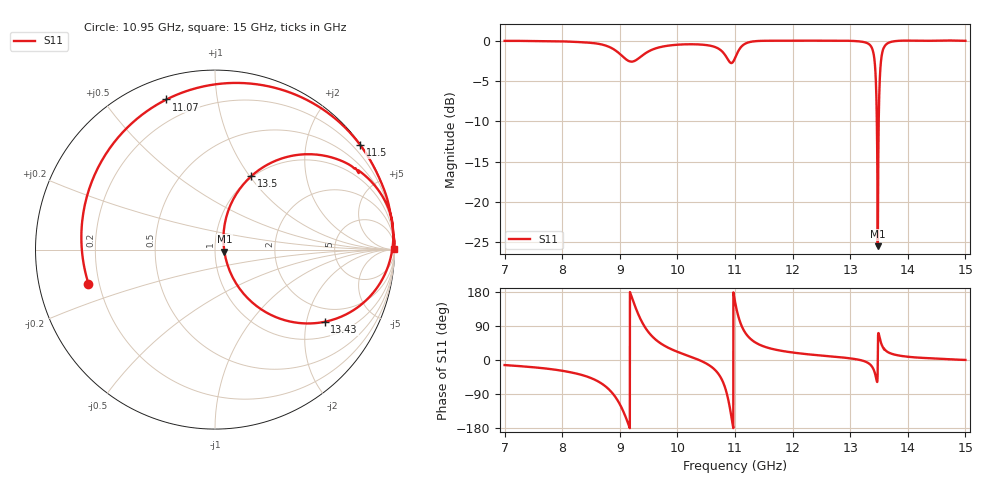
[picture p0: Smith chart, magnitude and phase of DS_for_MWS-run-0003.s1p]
! TOUCHSTONE file generated by CST DESIGN STUDIO
! Date and time: Mon Feb 10 16:44:07 2025
! Project name: C:\Work\MatlabApps\UnitCellType2OptimizationMatlab\CST\unitcell.cst
! Tree item: Tasks\Sweep1\SPara1\S-Parameters
! Header version: 2024
! Port assignment regex: !\s*Touchstone port\s*([0-9]+)\s*=\s*(CST MWS port|CST DES external port|CST DES block port)\s*(.+)\s* \(\"(.*)\"\)(\s*mode\s*([0-9]+))?.*
! Touchstone port assignment:
! Touchstone port 1 = CST DES external port 1 ("")
# GHz S MA R 50
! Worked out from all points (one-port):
!   4001 points, 7 GHz to 15 GHz, reference 50 ohm
!   lowest |S11| = -25.5 dB at 13.48 GHz (marker M1), VSWR 1.11, Z = 55.5 - j1.21 ohm
!   |S11| at or under -10 dB: 13.46261 GHz to 13.49518 GHz (32.57 MHz wide, 0.242 % of centre)
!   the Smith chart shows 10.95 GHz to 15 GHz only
!   S11 on the Smith chart (normalised r, x): 10.95 GHz: 0.16, -0.13; 11.07 GHz: 0.10, +0.72; 11.5 GHz: 0.02, +3.10; 13.43 GHz: 1.49, -2.57; 13.5 GHz: 0.99, +1.01; 15 GHz: open
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7  0.9959 -13.4
8  0.989 -28.4
8.622  0.956 -56.4
8.856  0.8995 -84.7
9  0.8276 -116.6
9.188  0.7414 174.1
9.392  0.8093 98.3
9.642  0.8993 51.4
10  0.943 21.6
10.674  0.9062 -29.5
10.772  0.8598 -51.7
10.854  0.7878 -86.3
10.904  0.7391 -120.6
10.954  0.7301 -165.0
11  0.7782 154.3
11.072  0.8791 107.9
11.238  0.9759 60.4
11.5  0.997 35.8
12  0.9996 19.8
13  0.9965 4.3
13.328  0.9497 -9.5
13.426  0.7322 -33.3
13.478  0.05332 -11.8
13.504  0.4547 63.8
13.546  0.8039 40.6
13.628  0.9499 23.5
14  0.9997 8.6
15  0.9968 0.1
